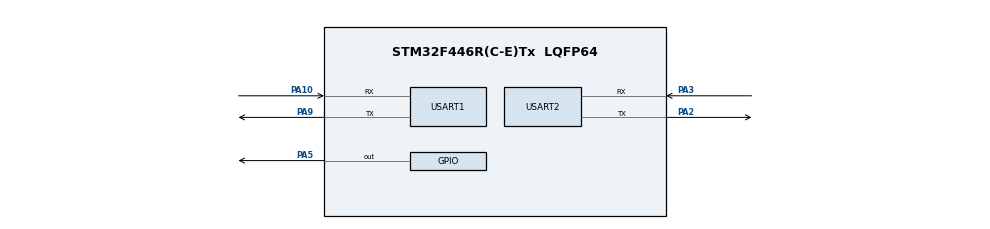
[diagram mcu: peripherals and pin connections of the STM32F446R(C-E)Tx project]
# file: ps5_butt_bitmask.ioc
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Mcu.Family=STM32F4
Mcu.Name=STM32F446R(C-E)Tx
Mcu.Package=LQFP64
NVIC.PriorityGroup=NVIC_PRIORITYGROUP_4
NVIC.USART1_IRQn=true\:0\:0\:false\:false\:true\:true\:true\:true
NVIC.USART2_IRQn=true\:0\:0\:false\:false\:true\:true\:true\:true
PA10.Mode=Asynchronous
PA10.Signal=USART1_RX
PA2.Mode=Asynchronous
PA2.Signal=USART2_TX
PA3.Mode=Asynchronous
PA3.Signal=USART2_RX
PA5.Signal=GPIO_Output
PA9.Mode=Asynchronous
PA9.Signal=USART1_TX
ProjectManager.HeapSize=0x200
ProjectManager.StackSize=0x400
ProjectManager.TargetToolchain=STM32CubeIDE
RCC.CortexFreq_Value=16000000
RCC.USBFreq_Value=96000000
RCC.VCOOutputFreq_Value=192000000
USART1.VirtualMode=VM_ASYNC
USART2.VirtualMode=VM_ASYNC
board=custom

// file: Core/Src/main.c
/* USER CODE BEGIN Header */
/**
 ******************************************************************************
 * @file           : main.c
 * @brief          : Main program body
 ******************************************************************************
 * @attention
 *
 * Copyright (c) 2026 STMicroelectronics.
 * All rights reserved.
 *
 * This software is licensed under terms that can be found in the LICENSE file
 * in the root directory of this software component.
 * If no LICENSE file comes with this software, it is provided AS-IS.
 *
 ******************************************************************************
 */
/* USER CODE END Header */
#include "main.h"

/* USER CODE BEGIN Includes */
#include<stdbool.h>
#include<stdio.h>
#include<string.h>
/* USER CODE END Includes */

UART_HandleTypeDef huart1;
UART_HandleTypeDef huart2;

void SystemClock_Config(void);
static void MX_GPIO_Init(void);
static void MX_USART1_UART_Init(void);
static void MX_USART2_UART_Init(void);

/* USER CODE BEGIN 0 */
uint8_t rx_byte;
volatile uint8_t rx_count=0;
volatile bool ready= false;
volatile uint8_t idx=0;
uint8_t packet_buffer[11];

//data
int8_t LX;
int8_t LY;
int8_t RX;
int8_t RY;
uint8_t L2,R2;
uint16_t buttons;
uint16_t prev_buttons;

#define EVENT_QUEUE_SIZE 8
volatile uint16_t event_queue[8];
volatile uint8_t event_head =0;
volatile uint8_t event_tail =0;
volatile uint16_t prev_buttons_isr = 0;

#define NUM_BUTTONS 10
volatile uint8_t butt[NUM_BUTTONS] = {0};

static inline void enqueue_button_event(uint16_t pressed)
{
	uint8_t next = (event_head + 1) % EVENT_QUEUE_SIZE;

	if (next != event_tail) {   // queue not full
		event_queue[event_head] = pressed;
		event_head = next;
	}
}

bool check_packet(uint8_t *buf){
	if(buf[0]!=0xAA || buf[10]!=0x55) return false;
	uint8_t sum=0;
	for(int i=0;i<=8;i++) sum+=buf[i];
	return ((uint8_t)(0-sum)==buf[9]);
}

void HAL_UART_RxCpltCallback(UART_HandleTypeDef *huart)
{
    if (huart->Instance == USART1)
    {
        if (idx == 0)
        {
            if (rx_byte == 0xAA)
            {
                packet_buffer[idx++] = rx_byte;
            }
        }
        else
        {
            packet_buffer[idx++] = rx_byte;

            if (idx == 11)
            {
                if (check_packet(packet_buffer))
                {
                    LX = (int8_t)packet_buffer[1];
                    LY = (int8_t)packet_buffer[2];
                    RX = (int8_t)packet_buffer[3];
                    RY = (int8_t)packet_buffer[4];
                    R2 = packet_buffer[5];
                    L2 = packet_buffer[6];

                    uint16_t buttons =
                        packet_buffer[7] |
                        (packet_buffer[8] << 8);

                    uint16_t pressed = buttons & ~prev_buttons;

                    if (pressed)
                        enqueue_button_event(pressed);

                    prev_buttons = buttons;

                    HAL_GPIO_TogglePin(GPIOA, GPIO_PIN_5);
                }

                idx = 0;
            }
        }

        HAL_UART_Receive_IT(&huart1, &rx_byte, 1);
    }
}

void process_packet(void){
	if(ready){
		uint8_t local_buf[11];
		__disable_irq();
		memcpy(local_buf, packet_buffer, 11);
		ready = false;
		__enable_irq();

		if(check_packet(local_buf)){
			LX = (int8_t)local_buf[1];
			LY = (int8_t)local_buf[2];
			RX = (int8_t)local_buf[3];
			RY = (int8_t)local_buf[4];
			R2 = local_buf[5];
			L2 = local_buf[6];
		}
	}
}

void process_button_events(void)
{
	while (event_tail != event_head) {

		uint16_t evt = event_queue[event_tail];
		event_tail = (event_tail + 1) % EVENT_QUEUE_SIZE;

		if(evt & (1 << 0)) printf("Cross\r\n");
		if(evt & (1 << 1)) printf("Circle\r\n");
		if(evt & (1 << 2)) printf("Triangle\r\n");
		if(evt & (1 << 3)) printf("Square\r\n");
		if(evt & (1 << 4)) printf("L1\r\n");
		if(evt & (1 << 5)) printf("R1\r\n");
		if(evt & (1 << 6)) printf("Up\r\n");
		if(evt & (1 << 7)) printf("Down\r\n");
		if(evt & (1 << 8)) printf("Left\r\n");
		if(evt & (1 << 9)) printf("Right\r\n");
	}
}

void print_pots(void)
{
 printf("LX:%d  LY:%d  RX:%d  RY:%d  L2:%d  R2:%d\r\n", LX, LY, RX, RY, L2, R2);
}

// Send printf to uart1
int _write(int fd, char* ptr, int len) {
	HAL_StatusTypeDef hstatus;

	if (fd == 1 || fd == 2) {
		hstatus = HAL_UART_Transmit(&huart2, (uint8_t *) ptr, len, HAL_MAX_DELAY);
		if (hstatus == HAL_OK)
			return len;
		else
			return -1;
	}
	return -1;
}
/* USER CODE END 0 */

int main(void)
{

	/* MCU Configuration--------------------------------------------------------*/

	/* Reset of all peripherals, Initializes the Flash interface and the Systick. */
	HAL_Init();

	/* Configure the system clock */
	SystemClock_Config();

	/* Initialize all configured peripherals */
	MX_GPIO_Init();
	MX_USART1_UART_Init();
	MX_USART2_UART_Init();
	/* USER CODE BEGIN 2 */
	printf("STM32 ready\r\n");

	HAL_NVIC_SetPriority(USART1_IRQn, 0, 0);
	HAL_NVIC_EnableIRQ(USART1_IRQn);
	HAL_UART_Receive_IT(&huart1, &rx_byte, 1);

	uint32_t last=0;
	/* USER CODE END 2 */

	/* Infinite loop */
	/* USER CODE BEGIN WHILE */
	while (1)
	{
		//process_packet();
		if(HAL_GetTick()-last>=500){
		print_pots();
		last=HAL_GetTick();
		}
		process_button_events();
		/* USER CODE END WHILE */

	}
}

void SystemClock_Config(void)
{
	RCC_OscInitTypeDef RCC_OscInitStruct = {0};
	RCC_ClkInitTypeDef RCC_ClkInitStruct = {0};

	/** Configure the main internal regulator output voltage
	 */
	__HAL_RCC_PWR_CLK_ENABLE();
	__HAL_PWR_VOLTAGESCALING_CONFIG(PWR_REGULATOR_VOLTAGE_SCALE3);

	/** Initializes the RCC Oscillators according to the specified parameters
	 * in the RCC_OscInitTypeDef structure.
	 */
	RCC_OscInitStruct.OscillatorType = RCC_OSCILLATORTYPE_HSI;
	RCC_OscInitStruct.HSIState = RCC_HSI_ON;
	RCC_OscInitStruct.HSICalibrationValue = RCC_HSICALIBRATION_DEFAULT;
	RCC_OscInitStruct.PLL.PLLState = RCC_PLL_NONE;
	if (HAL_RCC_OscConfig(&RCC_OscInitStruct) != HAL_OK)
	{
		Error_Handler();
	}

	/** Initializes the CPU, AHB and APB buses clocks
	 */
	RCC_ClkInitStruct.ClockType = RCC_CLOCKTYPE_HCLK|RCC_CLOCKTYPE_SYSCLK
			|RCC_CLOCKTYPE_PCLK1|RCC_CLOCKTYPE_PCLK2;
	RCC_ClkInitStruct.SYSCLKSource = RCC_SYSCLKSOURCE_HSI;
	RCC_ClkInitStruct.AHBCLKDivider = RCC_SYSCLK_DIV1;
	RCC_ClkInitStruct.APB1CLKDivider = RCC_HCLK_DIV1;
	RCC_ClkInitStruct.APB2CLKDivider = RCC_HCLK_DIV1;

	if (HAL_RCC_ClockConfig(&RCC_ClkInitStruct, FLASH_LATENCY_0) != HAL_OK)
	{
		Error_Handler();
	}
}

static void MX_USART1_UART_Init(void)
{

	huart1.Instance = USART1;
	huart1.Init.BaudRate = 115200;
	huart1.Init.WordLength = UART_WORDLENGTH_8B;
	huart1.Init.StopBits = UART_STOPBITS_1;
	huart1.Init.Parity = UART_PARITY_NONE;
	huart1.Init.Mode = UART_MODE_TX_RX;
	huart1.Init.HwFlowCtl = UART_HWCONTROL_NONE;
	huart1.Init.OverSampling = UART_OVERSAMPLING_16;
	if (HAL_UART_Init(&huart1) != HAL_OK)
	{
		Error_Handler();
	}

}

static void MX_USART2_UART_Init(void)
{

	huart2.Instance = USART2;
	huart2.Init.BaudRate = 115200;
	huart2.Init.WordLength = UART_WORDLENGTH_8B;
	huart2.Init.StopBits = UART_STOPBITS_1;
	huart2.Init.Parity = UART_PARITY_NONE;
	huart2.Init.Mode = UART_MODE_TX_RX;
	huart2.Init.HwFlowCtl = UART_HWCONTROL_NONE;
	huart2.Init.OverSampling = UART_OVERSAMPLING_16;
	if (HAL_UART_Init(&huart2) != HAL_OK)
	{
		Error_Handler();
	}

}

static void MX_GPIO_Init(void)
{
	GPIO_InitTypeDef GPIO_InitStruct = {0};

	/* GPIO Ports Clock Enable */
	__HAL_RCC_GPIOA_CLK_ENABLE();

	/*Configure GPIO pin Output Level */
	HAL_GPIO_WritePin(GPIOA, GPIO_PIN_5, GPIO_PIN_RESET);

	/*Configure GPIO pin : PA5 */
	GPIO_InitStruct.Pin = GPIO_PIN_5;
	GPIO_InitStruct.Mode = GPIO_MODE_OUTPUT_PP;
	GPIO_InitStruct.Pull = GPIO_NOPULL;
	GPIO_InitStruct.Speed = GPIO_SPEED_FREQ_LOW;
	HAL_GPIO_Init(GPIOA, &GPIO_InitStruct);

}

void Error_Handler(void)
{
	__disable_irq();
	while (1)
	{
	}
}
